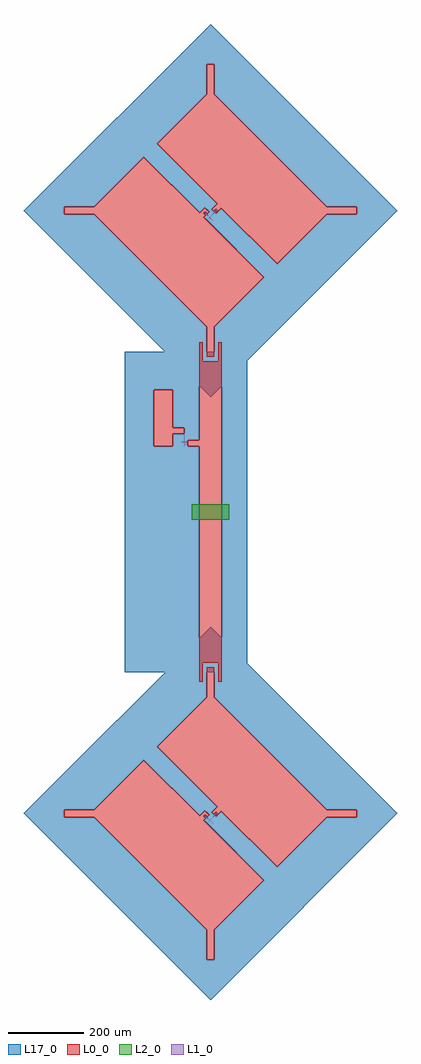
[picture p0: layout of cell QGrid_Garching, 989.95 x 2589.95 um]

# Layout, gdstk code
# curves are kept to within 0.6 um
import gdstk
lib = gdstk.Library(unit=1e-6, precision=1e-09)
def R(c, l, rs):  # rectangles x0, y0, x1, y1
    for r in rs: c.add(gdstk.rectangle(r[:2], r[2:], *l))
def P(c, l, *ps):  # polygons
    for p in ps: c.add(gdstk.Polygon(p, *l))
L0_0 = (0, 0)
L1_0 = (1, 0)
L2_0 = (2, 0)
L17_0 = (17, 0)

qgrid_garching = lib.new_cell('QGrid_Garching')
P(qgrid_garching, L0_0, [(2438.198,2010.001),(2358.198,2010),(2060,2308.198),(2060.001,2388.198),(2039.999,2388.198),(2040,2308.198),(1908.579,2176.777),(2067.678,2017.678),(2053.536,2003.536),(2059.192,1997.879),(2064.849,2003.536),(2068.385,2000),(2062.728,1994.343),(2064.849,1992.222),(2078.991,2006.364),(2226.777,1858.579),(2358.198,1990),(2438.198,1989.999)],
  [(2060,1691.802),(2191.421,1823.223),(2032.322,1982.322),(2037.272,1987.272),(2031.615,1992.929),(2035.151,1996.464),(2040.808,1990.808),(2046.464,1996.464),(2035.151,2007.778),(2021.009,1993.636),(1873.223,2141.421),(1741.802,2010),(1661.802,2010.001),(1661.802,1989.999),(1741.802,1990),(2040,1691.802),(2039.999,1611.802),(2060.001,1611.802)],
  [(2438.198,3610.001),(2358.198,3610),(2060,3908.198),(2060.001,3988.198),(2039.999,3988.198),(2040,3908.198),(1908.579,3776.777),(2067.678,3617.678),(2053.536,3603.536),(2059.192,3597.879),(2064.849,3603.536),(2068.385,3600),(2062.728,3594.343),(2064.849,3592.222),(2078.991,3606.364),(2226.777,3458.579),(2358.198,3590),(2438.198,3589.999)],
  [(2060,3291.802),(2191.421,3423.223),(2032.322,3582.322),(2037.272,3587.272),(2031.615,3592.929),(2035.151,3596.464),(2040.808,3590.808),(2046.464,3596.464),(2035.151,3607.778),(2021.009,3593.636),(1873.223,3741.421),(1741.802,3610),(1661.802,3610.001),(1661.802,3589.999),(1741.802,3590),(2040,3291.802),(2039.999,3211.802),(2060.001,3211.802)],
  [(2070,3200),(2030,3200),(2030,3250),(2020,3250),(2020,2991),(1990,2991),(1990,2975),(2020,2975),(2020,2350),(2030,2350),(2030,2400),(2070,2400),(2070,2350),(2080,2350),(2080,3250),(2070,3250)],
  [(1900,2975),(1950,2975),(1950,3007),(1980,3007),(1980,3023),(1950,3023),(1950,3125),(1900,3125)],
  [(2438.198,2010.001),(2358.198,2010),(2060,2308.198),(2060.001,2388.198),(2039.999,2388.198),(2040,2308.198),(1908.579,2176.777),(2067.678,2017.678),(2053.536,2003.536),(2059.192,1997.879),(2064.849,2003.536),(2068.385,2000),(2062.728,1994.343),(2064.849,1992.222),(2078.991,2006.364),(2226.777,1858.579),(2358.198,1990),(2438.198,1989.999)],
  [(2060,1691.802),(2191.421,1823.223),(2032.322,1982.322),(2037.272,1987.272),(2031.615,1992.929),(2035.151,1996.464),(2040.808,1990.808),(2046.464,1996.464),(2035.151,2007.778),(2021.009,1993.636),(1873.223,2141.421),(1741.802,2010),(1661.802,2010.001),(1661.802,1989.999),(1741.802,1990),(2040,1691.802),(2039.999,1611.802),(2060.001,1611.802)],
  [(2438.198,3610.001),(2358.198,3610),(2060,3908.198),(2060.001,3988.198),(2039.999,3988.198),(2040,3908.198),(1908.579,3776.777),(2067.678,3617.678),(2053.536,3603.536),(2059.192,3597.879),(2064.849,3603.536),(2068.385,3600),(2062.728,3594.343),(2064.849,3592.222),(2078.991,3606.364),(2226.777,3458.579),(2358.198,3590),(2438.198,3589.999)],
  [(2060,3291.802),(2191.421,3423.223),(2032.322,3582.322),(2037.272,3587.272),(2031.615,3592.929),(2035.151,3596.464),(2040.808,3590.808),(2046.464,3596.464),(2035.151,3607.778),(2021.009,3593.636),(1873.223,3741.421),(1741.802,3610),(1661.802,3610.001),(1661.802,3589.999),(1741.802,3590),(2040,3291.802),(2039.999,3211.802),(2060.001,3211.802)],
  [(2070,3200),(2030,3200),(2030,3250),(2020,3250),(2020,2991),(1990,2991),(1990,2975),(2020,2975),(2020,2350),(2030,2350),(2030,2400),(2070,2400),(2070,2350),(2080,2350),(2080,3250),(2070,3250)],
  [(1900,2975),(1950,2975),(1950,3007),(1980,3007),(1980,3023),(1950,3023),(1950,3125),(1900,3125)])
P(qgrid_garching, L1_0, [(2044.268,1978.155),(2044.418,1978.005),(2047.879,1981.465),(2056.996,1972.348),(2057.146,1972.498),(2048.029,1981.615),(2058.56,1992.147),(2059.192,1991.515),(2067.678,2000),(2066.263,2001.414),(2057.778,1992.929),(2058.41,1992.297),(2047.879,1981.765),(2043.004,1986.64),(2043.636,1987.272),(2035.151,1995.757),(2033.737,1994.343),(2042.222,1985.858),(2042.854,1986.49),(2047.729,1981.615)],
  [(2044.268,3578.155),(2044.418,3578.005),(2047.879,3581.465),(2056.996,3572.348),(2057.146,3572.498),(2048.029,3581.615),(2058.56,3592.147),(2059.192,3591.515),(2067.678,3600),(2066.263,3601.414),(2057.778,3592.929),(2058.41,3592.297),(2047.879,3581.765),(2043.004,3586.64),(2043.636,3587.272),(2035.151,3595.757),(2033.737,3594.343),(2042.222,3585.858),(2042.854,3586.49),(2047.729,3581.615)],
  [(1979.788,2985.773),(1974,2985.773),(1974,2985.561),(1979.788,2985.561),(1979.788,2980.439),(1974,2980.439),(1974,2980.227),(1979.788,2980.227),(1979.788,2975),(1980,2975),(1980,2980.227),(1990,2980.227),(1990,2980.439),(1980,2980.439),(1980,2985.561),(1990,2985.561),(1990,2985.773),(1980,2985.773),(1980,3007),(1979.788,3007)],
  [(2044.268,1978.155),(2044.418,1978.005),(2047.879,1981.465),(2056.996,1972.348),(2057.146,1972.498),(2048.029,1981.615),(2058.56,1992.147),(2059.192,1991.515),(2067.678,2000),(2066.263,2001.414),(2057.778,1992.929),(2058.41,1992.297),(2047.879,1981.765),(2043.004,1986.64),(2043.636,1987.272),(2035.151,1995.757),(2033.737,1994.343),(2042.222,1985.858),(2042.854,1986.49),(2047.729,1981.615)],
  [(2044.268,3578.155),(2044.418,3578.005),(2047.879,3581.465),(2056.996,3572.348),(2057.146,3572.498),(2048.029,3581.615),(2058.56,3592.147),(2059.192,3591.515),(2067.678,3600),(2066.263,3601.414),(2057.778,3592.929),(2058.41,3592.297),(2047.879,3581.765),(2043.004,3586.64),(2043.636,3587.272),(2035.151,3595.757),(2033.737,3594.343),(2042.222,3585.858),(2042.854,3586.49),(2047.729,3581.615)],
  [(1979.788,2985.773),(1974,2985.773),(1974,2985.561),(1979.788,2985.561),(1979.788,2980.439),(1974,2980.439),(1974,2980.227),(1979.788,2980.227),(1979.788,2975),(1980,2975),(1980,2980.227),(1990,2980.227),(1990,2980.439),(1980,2980.439),(1980,2985.561),(1990,2985.561),(1990,2985.773),(1980,2985.773),(1980,3007),(1979.788,3007)])
R(qgrid_garching, L2_0, [(2000,2780,2100,2820), (2000,2780,2100,2820)])
R(qgrid_garching, L17_0, [(2030,2375,2070,2400), (2030,2375,2070,2400), (2080,2375,2147.5,3225), (2080,2375,2147.5,3225), (2030,3200,2070,3225), (2030,3200,2070,3225)])
P(qgrid_garching, L17_0, [(2050,2494.975),(1555.025,2000),(1991.611,1563.414),(2039.999,1611.802),(2040,1691.802),(1741.802,1990),(1661.802,1989.999),(1661.802,2010.001),(1741.802,2010),(1873.223,2141.421),(2021.009,1993.636),(2035.151,2007.778),(2046.464,1996.464),(2040.808,1990.808),(2035.151,1996.464),(2031.615,1992.929),(2037.272,1987.272),(2032.322,1982.322),(2043.636,1971.009),(2064.849,1992.222),(2062.728,1994.343),(2068.385,2000),(2064.849,2003.536),(2059.192,1997.879),(2053.536,2003.536),(2067.678,2017.678),(1908.579,2176.777),(2040,2308.198),(2039.999,2388.198),(2060.001,2388.198),(2060,2308.198),(2358.198,2010),(2438.198,2010.001),(2438.198,1989.999),(2358.198,1990),(2226.777,1858.579),(2078.991,2006.364),(2043.636,1971.009),(2191.421,1823.223),(2060,1691.802),(2060.001,1611.802),(2039.999,1611.802),(1991.611,1563.414),(2050,1505.025),(2544.975,2000)],
  [(2050,4094.975),(1555.025,3600),(1991.611,3163.414),(2039.999,3211.802),(2040,3291.802),(1741.802,3590),(1661.802,3589.999),(1661.802,3610.001),(1741.802,3610),(1873.223,3741.421),(2021.009,3593.636),(2035.151,3607.778),(2046.464,3596.464),(2040.808,3590.808),(2035.151,3596.464),(2031.615,3592.929),(2037.272,3587.272),(2032.322,3582.322),(2043.636,3571.009),(2064.849,3592.222),(2062.728,3594.343),(2068.385,3600),(2064.849,3603.536),(2059.192,3597.879),(2053.536,3603.536),(2067.678,3617.678),(1908.579,3776.777),(2040,3908.198),(2039.999,3988.198),(2060.001,3988.198),(2060,3908.198),(2358.198,3610),(2438.198,3610.001),(2438.198,3589.999),(2358.198,3590),(2226.777,3458.579),(2078.991,3606.364),(2043.636,3571.009),(2191.421,3423.223),(2060,3291.802),(2060.001,3211.802),(2039.999,3211.802),(1991.611,3163.414),(2050,3105.025),(2544.975,3600)],
  [(1822.5,2375),(2020,2375),(2020,2975),(1990,2975),(1990,2991),(2020,2991),(2020,3023),(1980,3023),(1980,3007),(1950,3007),(1950,2975),(1900,2975),(1900,3125),(1950,3125),(1950,3023),(1980,3023),(2020,3023),(2020,3225),(1822.5,3225)],
  [(2050,2494.975),(1555.025,2000),(1991.611,1563.414),(2039.999,1611.802),(2040,1691.802),(1741.802,1990),(1661.802,1989.999),(1661.802,2010.001),(1741.802,2010),(1873.223,2141.421),(2021.009,1993.636),(2035.151,2007.778),(2046.464,1996.464),(2040.808,1990.808),(2035.151,1996.464),(2031.615,1992.929),(2037.272,1987.272),(2032.322,1982.322),(2043.636,1971.009),(2064.849,1992.222),(2062.728,1994.343),(2068.385,2000),(2064.849,2003.536),(2059.192,1997.879),(2053.536,2003.536),(2067.678,2017.678),(1908.579,2176.777),(2040,2308.198),(2039.999,2388.198),(2060.001,2388.198),(2060,2308.198),(2358.198,2010),(2438.198,2010.001),(2438.198,1989.999),(2358.198,1990),(2226.777,1858.579),(2078.991,2006.364),(2043.636,1971.009),(2191.421,1823.223),(2060,1691.802),(2060.001,1611.802),(2039.999,1611.802),(1991.611,1563.414),(2050,1505.025),(2544.975,2000)],
  [(2050,4094.975),(1555.025,3600),(1991.611,3163.414),(2039.999,3211.802),(2040,3291.802),(1741.802,3590),(1661.802,3589.999),(1661.802,3610.001),(1741.802,3610),(1873.223,3741.421),(2021.009,3593.636),(2035.151,3607.778),(2046.464,3596.464),(2040.808,3590.808),(2035.151,3596.464),(2031.615,3592.929),(2037.272,3587.272),(2032.322,3582.322),(2043.636,3571.009),(2064.849,3592.222),(2062.728,3594.343),(2068.385,3600),(2064.849,3603.536),(2059.192,3597.879),(2053.536,3603.536),(2067.678,3617.678),(1908.579,3776.777),(2040,3908.198),(2039.999,3988.198),(2060.001,3988.198),(2060,3908.198),(2358.198,3610),(2438.198,3610.001),(2438.198,3589.999),(2358.198,3590),(2226.777,3458.579),(2078.991,3606.364),(2043.636,3571.009),(2191.421,3423.223),(2060,3291.802),(2060.001,3211.802),(2039.999,3211.802),(1991.611,3163.414),(2050,3105.025),(2544.975,3600)],
  [(1822.5,2375),(2020,2375),(2020,2975),(1990,2975),(1990,2991),(2020,2991),(2020,3023),(1980,3023),(1980,3007),(1950,3007),(1950,2975),(1900,2975),(1900,3125),(1950,3125),(1950,3023),(1980,3023),(2020,3023),(2020,3225),(1822.5,3225)])

lib.write_gds('QGrid_Garching.gds')
